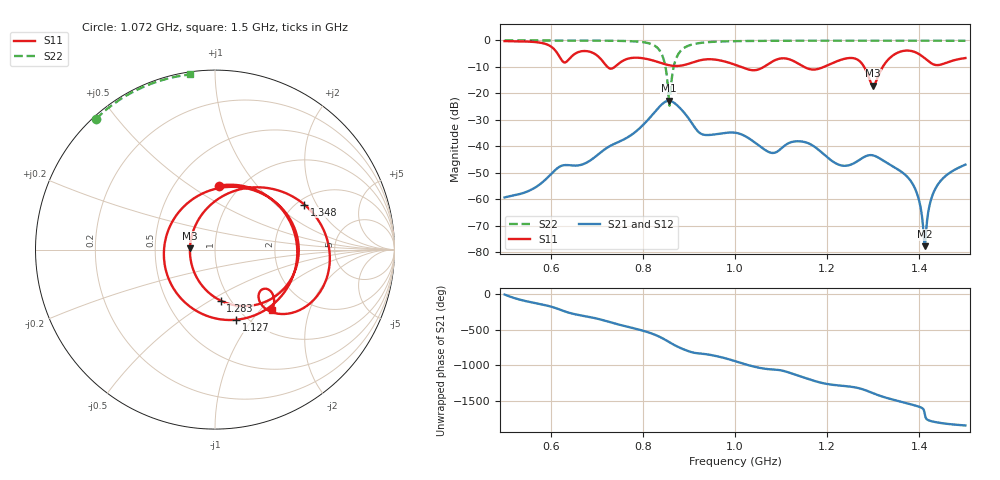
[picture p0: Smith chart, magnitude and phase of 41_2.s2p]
! TOUCHSTONE file generated by CST MICROWAVE STUDIO
! Date and time: Thu Feb 18 07:39:44 2021
! Project name: Scenario_1_Planar_Body_Tissue_Out_of_Line.cst
! Parameters = {L_HA=400; Ltissue=1000; MT=2.54; Rad_Dielectric=30; Rad_Lower=7.3; Rad_Upper=30; Wtissue=1000; a_HA=580; a_WG=246; b_HA=500; b_WG=121; c_HA=0; c_WG=187; d_feed=85; dx1=346; dy1=346; h_feed=15; h_lower=18; h_upper=40; hfat=3; hgap=25; hmuscle=50; hskin=1.5}
! Header version: 2018
! Port assignment regex: !\s*Touchstone port\s*([0-9]+)\s*=\s*(CST MWS port|CST DS port)\s*([0-9]+|Zmin|Zmax)\s*\(\"(.*)\"\)(\s*mode\s*([0-9]+))?.*
! Touchstone port assignment:
! Touchstone port 1 = CST MWS port 1 ("")
! Touchstone port 2 = CST MWS port 2 ("")
# GHz S DB R 50
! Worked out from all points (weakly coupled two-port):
!   1003 points, 500 MHz to 1.5 GHz, reference 50 ohm
!   highest |S21| = -22.80 dB at 856 MHz (marker M1); lowest = -77.7 dB at 1.412 GHz (marker M2)
!   lowest |S11| = -17.1 dB at 1.3 GHz (marker M3), VSWR 1.32, Z = 37.8 + j0.528 ohm
!   |S11| at or under -10 dB: 1.013 GHz to 1.062 GHz (49.96 MHz wide, 4.82 % of centre); 1.15 GHz to 1.193 GHz (42.93 MHz wide, 3.66 % of centre); 1.28 GHz to 1.321 GHz (40.32 MHz wide, 3.1 % of centre)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
!   |S22| runs from -24.7 to 0.0 dB; largest |S21 - S12| = 7.8e-06
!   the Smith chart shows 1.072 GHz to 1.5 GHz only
!   S11 on the Smith chart (normalised r, x): 1.072 GHz: 0.81, +0.66; 1.127 GHz: 0.90, -0.84; 1.283 GHz: 0.90, -0.56; 1.348 GHz: 2.19, +1.59; 1.5 GHz: 1.35, -1.17
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0.5  -0.25 -121.7  -59.31 -8.8  -59.31 -8.8  -0.01 151.1
0.667  -4.09 158.1  -46.95 56.3  -46.95 56.3  -0.04 138.4
0.718  -8.98 27.8  -41.05 -16.1  -41.05 -16.1  -0.09 132.6
0.743  -9.42 -100.2  -38.68 -62.1  -38.68 -62.1  -0.14 128.8
0.772  -6.72 174.7  -36.06 -109.1  -36.06 -109.1  -0.27 122.7
0.834  -8.21 39.9  -25.45 125.2  -25.45 125.2  -3.23 83.2
0.856  -9.33 -17.2  -22.80 48.0  -22.80 48.0  -21.51 2.0
0.907  -8.39 -175.6  -31.41 -99.6  -31.41 -99.6  -1.53 164.1
0.939  -7.13 85.0  -35.75 -128.0  -35.75 -128.0  -0.68 151.9
1  -9.18 -63.4  -34.87 136.9  -34.87 136.9  -0.27 140.3
1.072  -8.95 86.4  -42.05 24.1  -42.05 24.1  -0.14 132.3
1.127  -7.78 -73.0  -38.22 -44.9  -38.22 -44.9  -0.11 127.5
1.167  -10.99 172.8  -39.53 -131.0  -39.53 -131.0  -0.10 124.2
1.247  -6.65 6.6  -47.16 141.1  -47.16 141.1  -0.09 118.1
1.283  -10.89 -83.8  -43.80 88.5  -43.80 88.5  -0.09 115.4
1.3  -17.09 177.2  -43.45 45.1  -43.45 45.1  -0.09 114.1
1.334  -6.96 49.9  -46.71 -28.9  -46.71 -28.9  -0.09 111.6
1.348  -5.08 26.7  -48.15 -53.1  -48.15 -53.1  -0.09 110.5
1.39  -4.36 -30.2  -55.71 -125.0  -55.71 -125.0  -0.09 107.2
1.412  -6.75 -48.4  -77.73 109.1  -77.73 109.1  -0.10 105.5
1.438  -9.32 -42.6  -55.04 -2.9  -55.04 -2.9  -0.10 103.3
1.5  -6.66 -46.7  -46.94 -46.6  -46.94 -46.6  -0.13 98.0
